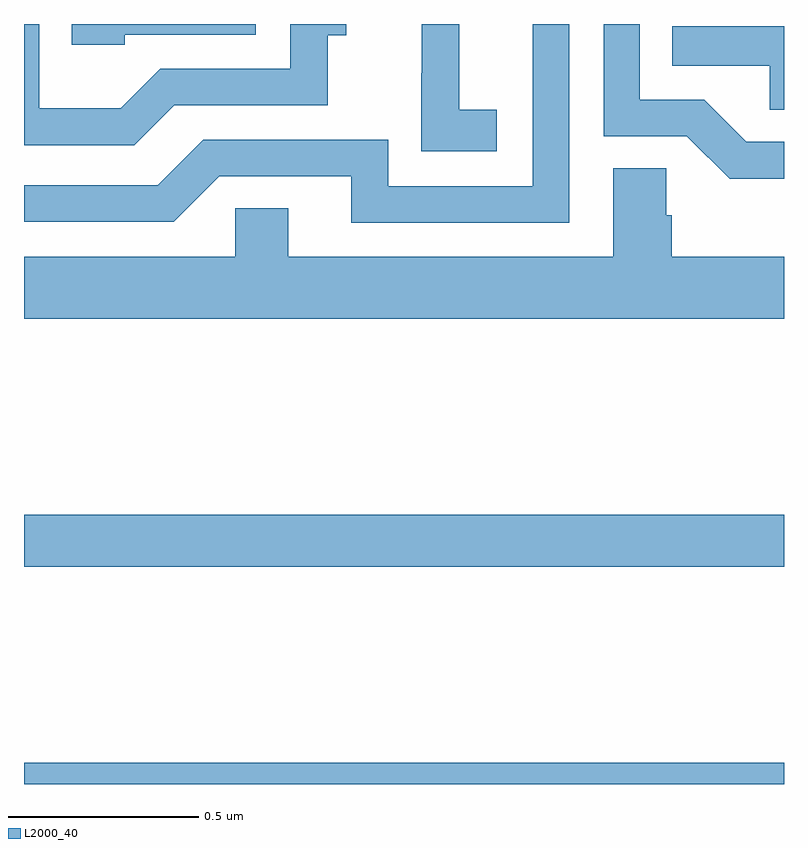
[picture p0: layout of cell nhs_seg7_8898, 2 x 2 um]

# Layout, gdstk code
import gdstk
lib = gdstk.Library(unit=1e-6, precision=1e-09)
def R(c, l, rs):  # rectangles x0, y0, x1, y1
    for r in rs: c.add(gdstk.rectangle(r[:2], r[2:], *l))
def P(c, l, *ps):  # polygons
    for p in ps: c.add(gdstk.Polygon(p, *l))
L2000_40 = (2000, 40)

nhs_seg7_8898 = lib.new_cell('nhs_seg7_8898')
R(nhs_seg7_8898, L2000_40, [(230,1058,232,1058.056), (230,1058.572,232,1058.708)])
P(nhs_seg7_8898, L2000_40, [(230.395,1059.786),(230.799,1059.786),(230.799,1059.971),(230.848,1059.971),(230.848,1060),(230.7,1060),(230.7,1059.882),(230.358,1059.882),(230.254,1059.778),(230.04,1059.778),(230.04,1060),(230,1060),(230,1059.681),(230.29,1059.681)],
  [(230.265,1059.972),(230.61,1059.972),(230.61,1060),(230.125,1060),(230.125,1059.945),(230.265,1059.945)],
  [(231.244,1059.775),(231.146,1059.775),(231.146,1060),(231.047,1060),(231.047,1059.871),(231.046,1059.871),(231.046,1059.665),(231.244,1059.665)],
  [(231.435,1060),(231.339,1060),(231.339,1059.573),(230.958,1059.573),(230.958,1059.696),(230.472,1059.696),(230.352,1059.576),(230,1059.576),(230,1059.48),(230.394,1059.48),(230.514,1059.6),(230.861,1059.6),(230.861,1059.477),(231.435,1059.477)],
  [(232,1059.69),(231.901,1059.69),(231.79,1059.801),(231.621,1059.801),(231.621,1060),(231.525,1060),(231.525,1059.705),(231.744,1059.705),(231.857,1059.593),(232,1059.593)],
  [(232,1059.994),(231.706,1059.994),(231.706,1059.89),(231.963,1059.89),(231.963,1059.775),(232,1059.775)],
  [(232,1059.388),(231.704,1059.388),(231.704,1059.497),(231.69,1059.497),(231.69,1059.62),(231.551,1059.62),(231.551,1059.388),(230.695,1059.388),(230.695,1059.515),(230.556,1059.515),(230.556,1059.388),(230,1059.388),(230,1059.224),(232,1059.224)])

lib.write_gds('nhs_seg7_8898.gds')
